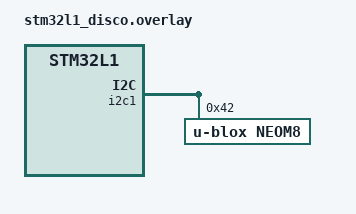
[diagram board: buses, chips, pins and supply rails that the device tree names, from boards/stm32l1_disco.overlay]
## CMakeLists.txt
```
# SPDX-License-Identifier: Apache-2.0

cmake_minimum_required(VERSION 3.20.0)

find_package(Zephyr REQUIRED HINTS $ENV{ZEPHYR_BASE})
project(neom8)

FILE(GLOB app_sources src/*.c)
target_sources(app PRIVATE ${app_sources})
```

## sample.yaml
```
#
# Copyright (c) 2022 Abel Sensors
#
# SPDX-License-Identifier: Apache-2.0


sample:
   description: Demonstration of Neo-M8 GNSS module
   name: Neo-M8 Sample
tests:
   sample.driver.neom8:
      build_only: true
      platform_allow: stm32l1_disco
```

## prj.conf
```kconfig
CONFIG_I2C=y
CONFIG_I2C_STM32=y
CONFIG_NEOM8=y
CONFIG_CBPRINTF_FP_SUPPORT=y
CONFIG_LOG=y
CONFIG_NEOM8_LOG_LEVEL_DBG=y
CONFIG_I2C_LOG_LEVEL_DBG=y
```

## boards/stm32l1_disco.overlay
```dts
/*
 * Copyright (c) 2022 Abel Sensors
 *
 * SPDX-License-Identifier: Apache-2.0
 */

&i2c1 {
    status = "okay";
    compatible = "st,stm32-i2c-v1";

    neom8: neom8@42 {
        status = "okay";
        compatible = "u-blox,neom8";
        label = "NEOM8";
        reg = <0x42>;
    };
};
```

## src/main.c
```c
/*
 * Copyright (c) 2022 Abel Sensors.
 *
 * SPDX-License-Identifier: Apache-2.0
 */

#include <zephyr/zephyr.h>
#include <zephyr/device.h>
#include <zephyr/drivers/gnss/ublox_neo_m8.h>

#include <zephyr/logging/log.h>
LOG_MODULE_DECLARE(neom8, CONFIG_NEOM8_LOG_LEVEL);

#define NEO_SERIAL DT_NODELABEL(neom8)

static const struct device *neo_dev;
static struct neom8_api *neo_api;

void main(void)
{
	int rc;
	struct time neotime;
	float lat;
	char ns;
	float lon;
	char ew;
	float alt;
	int sat;
	int i = 0;

	neo_dev = DEVICE_DT_GET(NEO_SERIAL);

	if (!device_is_ready(neo_dev)) {
		LOG_ERR("%s Device not ready", neo_dev->name);
		return;
	}

	neo_api = (struct neom8_api *)neo_dev->api;

	neo_api->cfg_nav5(neo_dev, Stationary, P_2D, 0, 1, 5, 100, 100, 100, 350, 0, 60, 0, 0, 0,
			  AutoUTC);
	neo_api->cfg_gnss(neo_dev, 0, 32, 5, 0, 8, 16, 0, 0x01010001, 1, 1, 3, 0, 0x01010001, 3, 8,
			  16, 0, 0x01010000, 5, 0, 3, 0, 0x01010001, 6, 8, 14, 0, 0x01010001);
	neo_api->cfg_msg(neo_dev, NMEA_DTM, 0);
	neo_api->cfg_msg(neo_dev, NMEA_GBQ, 0);
	neo_api->cfg_msg(neo_dev, NMEA_GBS, 0);
	neo_api->cfg_msg(neo_dev, NMEA_GLL, 0);
	neo_api->cfg_msg(neo_dev, NMEA_GLQ, 0);
	neo_api->cfg_msg(neo_dev, NMEA_GNQ, 0);
	neo_api->cfg_msg(neo_dev, NMEA_GNS, 0);
	neo_api->cfg_msg(neo_dev, NMEA_GPQ, 0);
	neo_api->cfg_msg(neo_dev, NMEA_GRS, 0);
	neo_api->cfg_msg(neo_dev, NMEA_GSA, 0);
	neo_api->cfg_msg(neo_dev, NMEA_GST, 0);
	neo_api->cfg_msg(neo_dev, NMEA_GSV, 0);
	neo_api->cfg_msg(neo_dev, NMEA_RMC, 0);
	neo_api->cfg_msg(neo_dev, NMEA_THS, 0);
	neo_api->cfg_msg(neo_dev, NMEA_TXT, 0);
	neo_api->cfg_msg(neo_dev, NMEA_VLW, 0);
	neo_api->cfg_msg(neo_dev, NMEA_VTG, 0);
	neo_api->cfg_msg(neo_dev, NMEA_ZDA, 0);

	while (1) {
		rc = neo_api->fetch_data(neo_dev);
		if (rc) {
			LOG_ERR("Error %d while reading data", rc);
			return;
		}

		if (i++ == 1000) {
			i = 0;

			neo_api->get_time(neo_dev, &neotime);
			neo_api->get_latitude(neo_dev, &lat);
			neo_api->get_ns(neo_dev, &ns);
			neo_api->get_longitude(neo_dev, &lon);
			neo_api->get_ew(neo_dev, &ew);
			neo_api->get_altitude(neo_dev, &alt);
			neo_api->get_satellites(neo_dev, &sat);

			LOG_INF("Hour: %d\n\r", neotime.hour);
			LOG_INF("Minute: %d\n\r", neotime.min);
			LOG_INF("Second: %d\n\r", neotime.sec);
			LOG_INF("Latitude: %.5f\n\r", lat);
			LOG_INF("North/South: %c\n\r", ns);
			LOG_INF("Longitude: %.5f\n\r", lon);
			LOG_INF("East/West: %c\n\r", ew);
			LOG_INF("Altitude: %.2f\n\r", alt);
			LOG_INF("Satellites: %d\n\r\n\r", sat);
		}
	}
}
```
